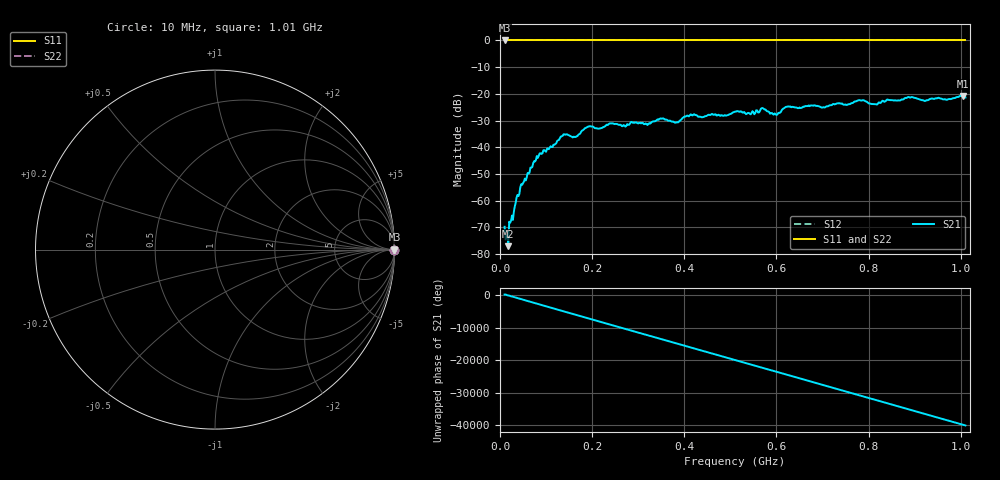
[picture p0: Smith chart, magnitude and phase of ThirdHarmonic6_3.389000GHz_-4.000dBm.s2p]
! 8/17/2025 10:47:36 AM
! C:\ANRITSUVNA\TEMP\TEMP.S2P
! CHANNEL.1
! TR.MEASUREMENT
! RAW.DATA
! RF.CORRECTION.OFF
! AVERAGING.OFF
! IF.BANDWIDTH: 5KHZ
! SWEEPTYPE:  FREQ.SWEEP(Linear)
! Reference Plane Port Info
! PORT:  PORT1  PORT2
! DISTANCE:  0  m  0  m
! TIME:  0  s  0  s
! PHASE.OFFSET:  0  deg.  0  deg.
! LOSS:  0  dB  0  dB
! REF.LOSS:  0  dB  0  dB
! REF.FREQ:  0  Hz  0  Hz
! Power Info
! POWER:  -20  dBm  -20  dBm
! EFF.POWER:  -20  dBm  -20  dBm
! SOURCE.ATTEN:  0  dB  0  dB
! TEST.ATTEN:  0  dB  0  dB
# GHZ S RI R 50.0
! FREQ.GHZ  S11RE  S11IM  S21RE  S21IM  S12RE  S12IM  S22RE  S22IM
!; PortSelection: Port_12
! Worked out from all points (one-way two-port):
!   501 points, 10 MHz to 1.01 GHz, reference 50 ohm
!   highest |S21| = -20.74 dB at 1.004 GHz (marker M1); lowest = -77.0 dB at 18 MHz (marker M2)
!   lowest |S11| = 0.0 dB at 10 MHz (marker M3)
!   |S11| at or under -10 dB: nowhere
!   |S22| runs from 0.0 to 0.0 dB; largest |S21 - S12| = 1.1
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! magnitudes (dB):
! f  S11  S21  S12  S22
! 10 MHz  0.0  -69.8  0.0  0.0
! 14 MHz  0.0  -73.4  0.0  0.0
! 18 MHz  0.0  -77.0  0.0  0.0
! 34 MHz  0.0  -60.9  0.0  0.0
! 48 MHz  0.0  -54.1  0.0  0.0
! 84 MHz  0.0  -43.3  0.0  0.0
! 136 MHz  0.0  -35.7  0.0  0.0
! 162 MHz  0.0  -36.1  0.0  0.0
! 178 MHz  0.0  -33.8  0.0  0.0
! 194 MHz  0.0  -32.1  0.0  0.0
! 322 MHz  0.0  -31.3  0.0  0.0
! 344 MHz  0.0  -29.7  0.0  0.0
! 382 MHz  0.0  -30.7  0.0  0.0
! 418 MHz  0.0  -28.1  0.0  0.0
! 510 MHz  0.0  -26.6  0.0  0.0
! 570 MHz  0.0  -25.3  0.0  0.0
! 598 MHz  0.0  -27.6  0.0  0.0
! 622 MHz  0.0  -24.8  0.0  0.0
! 678 MHz  0.0  -24.4  0.0  0.0
! 844 MHz  0.0  -22.3  0.0  0.0
! 1.004 GHz  0.0  -20.7  0.0  0.0
! 1.01 GHz  0.0  -21.3  0.0  0.0
